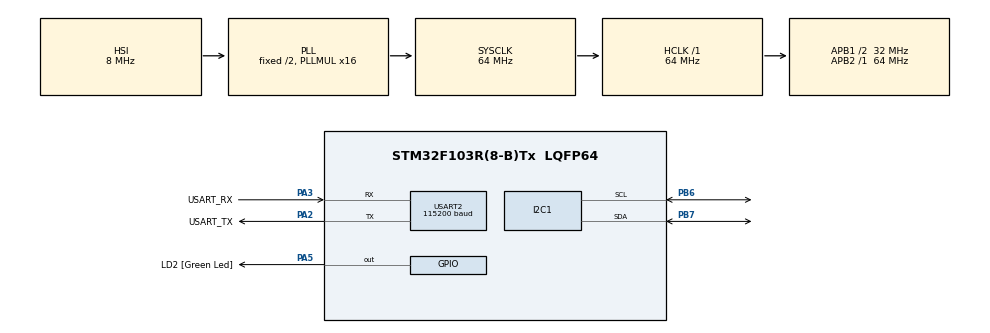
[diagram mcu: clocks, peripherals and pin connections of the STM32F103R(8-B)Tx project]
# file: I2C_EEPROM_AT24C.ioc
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Mcu.Family=STM32F1
Mcu.Name=STM32F103R(8-B)Tx
Mcu.Package=LQFP64
NVIC.PriorityGroup=NVIC_PRIORITYGROUP_4
PA13.GPIO_Label=TMS
PA13.Mode=Serial_Wire
PA13.Signal=SYS_JTMS-SWDIO
PA14.GPIO_Label=TCK
PA14.Mode=Serial_Wire
PA14.Signal=SYS_JTCK-SWCLK
PA2.GPIO_Label=USART_TX
PA2.GPIO_Mode=GPIO_MODE_AF_PP
PA2.GPIO_PuPd=GPIO_NOPULL
PA2.GPIO_Speed=GPIO_SPEED_FREQ_LOW
PA2.Mode=Asynchronous
PA2.Signal=USART2_TX
PA3.GPIO_Label=USART_RX
PA3.GPIO_PuPd=GPIO_NOPULL
PA3.GPIO_Speed=GPIO_SPEED_FREQ_LOW
PA3.Mode=Asynchronous
PA3.Signal=USART2_RX
PA5.GPIO_Label=LD2 [Green Led]
PA5.GPIO_ModeDefaultOutputPP=GPIO_MODE_OUTPUT_PP
PA5.GPIO_PuPd=GPIO_NOPULL
PA5.GPIO_Speed=GPIO_SPEED_FREQ_LOW
PA5.Signal=GPIO_Output
PB3.GPIO_Label=SWO
PB3.Signal=SYS_JTDO-TRACESWO
PB6.Mode=I2C
PB6.Signal=I2C1_SCL
PB7.Mode=I2C
PB7.Signal=I2C1_SDA
PC14-OSC32_IN.Mode=LSE-External-Oscillator
PC14-OSC32_IN.Signal=RCC_OSC32_IN
PC15-OSC32_OUT.Mode=LSE-External-Oscillator
PC15-OSC32_OUT.Signal=RCC_OSC32_OUT
PD0-OSC_IN.Mode=HSE-External-Clock-Source
PD0-OSC_IN.Signal=RCC_OSC_IN
PD1-OSC_OUT.Mode=HSE-External-Clock-Source
PD1-OSC_OUT.Signal=RCC_OSC_OUT
ProjectManager.HeapSize=0x200
ProjectManager.StackSize=0x400
ProjectManager.TargetToolchain=STM32CubeIDE
RCC.AHBFreq_Value=64000000
RCC.APB1CLKDivider=RCC_HCLK_DIV2
RCC.APB1Freq_Value=32000000
RCC.APB1TimFreq_Value=64000000
RCC.APB2Freq_Value=64000000
RCC.APB2TimFreq_Value=64000000
RCC.HCLKFreq_Value=64000000
RCC.PLLMUL=RCC_PLL_MUL16
RCC.RTCClockSelection=RCC_RTCCLKSOURCE_LSE
RCC.SYSCLKFreq_VALUE=64000000
RCC.SYSCLKSource=RCC_SYSCLKSOURCE_PLLCLK
RCC.USBFreq_Value=64000000
USART2.BaudRate=115200
USART2.VirtualMode=VM_ASYNC
board=NUCLEO-F103RB

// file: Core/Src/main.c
/* USER CODE BEGIN Header */
/**
 ******************************************************************************
 * @file           : main.c
 * @brief          : Main program body
 ******************************************************************************
 * @attention
 *
 * Copyright (c) 2026 STMicroelectronics.
 * All rights reserved.
 *
 * This software is licensed under terms that can be found in the LICENSE file
 * in the root directory of this software component.
 * If no LICENSE file comes with this software, it is provided AS-IS.
 *
 ******************************************************************************
 */
/**
 * 06_I2C_EEPROM_AT24C_HAL_c  —  [계층: HAL]  I2C EEPROM(AT24C32/64 등) 읽기/쓰기: 16비트 주소, 페이지 경계, ACK 폴링
 *
 * 배선: AT24C32/AT24C64 모듈(또는 ZS-042 RTC 모듈의 EEPROM): VCC=3.3V, GND, SCL=PB6, SDA=PB7
 *   7비트 주소 = 0x50 | (A2 A1 A0).  모듈 기본은 A2..A0 = 000 -> 0x50.  (ZS-042 는 EEPROM 이 0x57 인 경우가 많다 -> EE_ADDR 수정)
 *
 * AT24Cxx 의 규칙
 *   1) 메모리 주소가 **16비트**(AT24C32/64: 4KB/8KB)라서 HAL 에서 `I2C_MEMADD_SIZE_16BIT` 로 주소 2바이트를 보낸다. (AT24C02/04/08/16 은 8비트)
 *   2) **페이지 쓰기**: 한 번에 쓸 수 있는 최대 크기가 "페이지"(AT24C32/64 는 32바이트). 페이지 경계를 넘으면 주소가
 *      같은 페이지의 처음으로 되감겨(wrap-around) 앞쪽 데이터를 덮어쓴다 -> 페이지 단위로 쪼개서 써야 한다.
 *   3) **쓰기 사이클 시간**: 쓰기 명령 뒤 EEPROM 이 내부에서 셀을 프로그래밍하는 동안(최대 5ms) 주소에 NACK 한다.
 *      고정 delay 대신 **ACK 폴링**(HAL_I2C_IsDeviceReady 반복)으로 끝나는 즉시 다음 동작을 하면 빠르고 안전하다.
 *   4) 읽기는 페이지 제한 없이 연속으로 가능(주소 자동 증가).  수명: 셀당 약 100만 회 쓰기 -> 자주 바뀌는 값은 같은 주소에 반복 쓰지 말 것.
 *
 * 동작: 페이지 경계를 걸치는 40바이트(0x011C부터, 0x0120 이 페이지 경계)를 쓰고 다시 읽어 비교 -> PASS/FAIL 을 UART(115200)로 출력.
 *       쓰기 시간(ACK 폴링 횟수 포함)도 함께 표시. 영역 0x0100~0x01FF 만 사용한다(다른 데이터는 건드리지 않음).
 *
 * 인터럽트를 사용하지 않는다 (블로킹 API).
 */
/* USER CODE END Header */
#include "main.h"

/* USER CODE BEGIN Includes */
#include <stdio.h>
#include <string.h>
/* USER CODE END Includes */

/* USER CODE BEGIN PD */
#define EE_ADDR   (0x50 << 1)          /* HAL 은 7비트 주소를 1비트 왼쪽으로 민 값을 요구 */
#define EE_PAGE   32U                  /* AT24C32/64 페이지 크기 (AT24C256 = 64, AT24C02 = 8 ...) */
#define TEST_ADDR 0x011CU
#define TEST_LEN  40U

/* USER CODE END PD */

I2C_HandleTypeDef hi2c1;
UART_HandleTypeDef huart2;

void SystemClock_Config(void);
static void MX_GPIO_Init(void);
static void MX_I2C1_Init(void);
static void MX_USART2_UART_Init(void);

/* USER CODE BEGIN 0 */
/* 쓰기 완료를 ACK 폴링으로 기다린다. 반환: 폴링 횟수 (실패 시 0) */
static uint32_t ee_wait_ready(void)
{
    uint32_t t0 = HAL_GetTick(), polls = 0;
    while ((HAL_GetTick() - t0) < 20)
    {
        polls++;
        if (HAL_I2C_IsDeviceReady(&hi2c1, EE_ADDR, 1, 5) == HAL_OK) return polls;   /* ACK 오면 내부 쓰기 종료 */
    }
    return 0;
}

/* 페이지 경계를 넘지 않게 나눠 쓰기 */
static int ee_write(uint16_t addr, const uint8_t *data, uint16_t len, uint32_t *polls_total)
{
    while (len)
    {
        uint16_t room = (uint16_t)(EE_PAGE - (addr % EE_PAGE));         /* 이 페이지에 남은 바이트 */
        uint16_t n = len < room ? len : room;
        if (HAL_I2C_Mem_Write(&hi2c1, EE_ADDR, addr, I2C_MEMADD_SIZE_16BIT, (uint8_t *)data, n, 100) != HAL_OK) return 0;
        uint32_t p = ee_wait_ready();
        if (!p) return 0;
        *polls_total += p;
        addr = (uint16_t)(addr + n); data += n; len = (uint16_t)(len - n);
    }
    return 1;
}
/* USER CODE END 0 */

int main(void)
{

  /* USER CODE BEGIN 1 */
    char msg[128];
    uint32_t round = 0;       /* 테스트 라운드 카운터 (원본: for 루프 변수) */
  /* USER CODE END 1 */

  /* MCU Configuration--------------------------------------------------------*/

  /* Reset of all peripherals, Initializes the Flash interface and the Systick. */
  HAL_Init();

  /* Configure the system clock */
  SystemClock_Config();

  /* Initialize all configured peripherals */
  MX_GPIO_Init();
  MX_I2C1_Init();
  MX_USART2_UART_Init();
  /* USER CODE BEGIN 2 */
    if (HAL_I2C_IsDeviceReady(&hi2c1, EE_ADDR, 3, 20) != HAL_OK)
    {
        HAL_UART_Transmit(&huart2, (uint8_t *)"\r\nEEPROM not found (check address/wiring)\r\n", 42, 100);
        Error_Handler();
    }
  /* USER CODE END 2 */

  /* Infinite loop */
  while (1)
  {

    /* USER CODE BEGIN 3 */
        uint8_t wr[TEST_LEN], rd[TEST_LEN];
        for (uint32_t i = 0; i < TEST_LEN; i++) wr[i] = (uint8_t)(round * 3 + i);      /* 라운드마다 다른 패턴 */
        memset(rd, 0, sizeof rd);

        uint32_t polls = 0;
        uint32_t t0 = HAL_GetTick();
        int okw = ee_write(TEST_ADDR, wr, TEST_LEN, &polls);
        uint32_t tw = HAL_GetTick() - t0;

        int okr = (HAL_I2C_Mem_Read(&hi2c1, EE_ADDR, TEST_ADDR, I2C_MEMADD_SIZE_16BIT, rd, TEST_LEN, 100) == HAL_OK);
        int match = okw && okr && (memcmp(wr, rd, TEST_LEN) == 0);

        int n = snprintf(msg, sizeof msg, "#%lu write %u B @0x%04X (page 경계 걸침) %lu ms, ACK polls=%lu | read back: %s\r\n",
                         (unsigned long)round, TEST_LEN, TEST_ADDR, (unsigned long)tw, (unsigned long)polls,
                         match ? "PASS" : "FAIL");
        HAL_UART_Transmit(&huart2, (uint8_t *)msg, (uint16_t)n, 100);
        HAL_Delay(2000);
        round++;
  }
  /* USER CODE END 3 */
}

void SystemClock_Config(void)
{
  RCC_OscInitTypeDef RCC_OscInitStruct = {0};
  RCC_ClkInitTypeDef RCC_ClkInitStruct = {0};

  /** Initializes the RCC Oscillators according to the specified parameters
  * in the RCC_OscInitTypeDef structure.
  */
  RCC_OscInitStruct.OscillatorType = RCC_OSCILLATORTYPE_HSI;
  RCC_OscInitStruct.HSIState = RCC_HSI_ON;
  RCC_OscInitStruct.HSICalibrationValue = RCC_HSICALIBRATION_DEFAULT;
  RCC_OscInitStruct.PLL.PLLState = RCC_PLL_ON;
  RCC_OscInitStruct.PLL.PLLSource = RCC_PLLSOURCE_HSI_DIV2;
  RCC_OscInitStruct.PLL.PLLMUL = RCC_PLL_MUL16;
  if (HAL_RCC_OscConfig(&RCC_OscInitStruct) != HAL_OK)
  {
    Error_Handler();
  }

  /** Initializes the CPU, AHB and APB buses clocks
  */
  RCC_ClkInitStruct.ClockType = RCC_CLOCKTYPE_HCLK|RCC_CLOCKTYPE_SYSCLK
                              |RCC_CLOCKTYPE_PCLK1|RCC_CLOCKTYPE_PCLK2;
  RCC_ClkInitStruct.SYSCLKSource = RCC_SYSCLKSOURCE_PLLCLK;
  RCC_ClkInitStruct.AHBCLKDivider = RCC_SYSCLK_DIV1;
  RCC_ClkInitStruct.APB1CLKDivider = RCC_HCLK_DIV2;
  RCC_ClkInitStruct.APB2CLKDivider = RCC_HCLK_DIV1;

  if (HAL_RCC_ClockConfig(&RCC_ClkInitStruct, FLASH_LATENCY_2) != HAL_OK)
  {
    Error_Handler();
  }
}

static void MX_I2C1_Init(void)
{

  hi2c1.Instance = I2C1;
  hi2c1.Init.ClockSpeed = 100000;
  hi2c1.Init.DutyCycle = I2C_DUTYCYCLE_2;
  hi2c1.Init.OwnAddress1 = 0;
  hi2c1.Init.AddressingMode = I2C_ADDRESSINGMODE_7BIT;
  hi2c1.Init.DualAddressMode = I2C_DUALADDRESS_DISABLE;
  hi2c1.Init.OwnAddress2 = 0;
  hi2c1.Init.GeneralCallMode = I2C_GENERALCALL_DISABLE;
  hi2c1.Init.NoStretchMode = I2C_NOSTRETCH_DISABLE;
  if (HAL_I2C_Init(&hi2c1) != HAL_OK)
  {
    Error_Handler();
  }
  /* USER CODE BEGIN I2C1_Init 2 */
  /* HAL_I2C_Init -> (MspInit) 후 I2C1->CR2.FREQ = PCLK1(MHz), I2C1->CCR / TRISE = 100kHz 타이밍,
   * CR1.PE = 1. NoStretch/GeneralCall/DualAddress = OAR2.ENDUAL, CR1.NOSTRETCH/ENGC 비트 */
  /* USER CODE END I2C1_Init 2 */

}

static void MX_USART2_UART_Init(void)
{

  huart2.Instance = USART2;
  huart2.Init.BaudRate = 115200;
  huart2.Init.WordLength = UART_WORDLENGTH_8B;
  huart2.Init.StopBits = UART_STOPBITS_1;
  huart2.Init.Parity = UART_PARITY_NONE;
  huart2.Init.Mode = UART_MODE_TX_RX;
  huart2.Init.HwFlowCtl = UART_HWCONTROL_NONE;
  huart2.Init.OverSampling = UART_OVERSAMPLING_16;
  if (HAL_UART_Init(&huart2) != HAL_OK)
  {
    Error_Handler();
  }

}

static void MX_GPIO_Init(void)
{
  GPIO_InitTypeDef GPIO_InitStruct = {0};

  /* GPIO Ports Clock Enable */
  __HAL_RCC_GPIOC_CLK_ENABLE();
  __HAL_RCC_GPIOD_CLK_ENABLE();
  __HAL_RCC_GPIOA_CLK_ENABLE();
  __HAL_RCC_GPIOB_CLK_ENABLE();

  /*Configure GPIO pin Output Level */
  HAL_GPIO_WritePin(LD2_GPIO_Port, LD2_Pin, GPIO_PIN_RESET);

  /*Configure GPIO pin : LD2_Pin */
  GPIO_InitStruct.Pin = LD2_Pin;
  GPIO_InitStruct.Mode = GPIO_MODE_OUTPUT_PP;
  GPIO_InitStruct.Pull = GPIO_NOPULL;
  GPIO_InitStruct.Speed = GPIO_SPEED_FREQ_LOW;
  HAL_GPIO_Init(LD2_GPIO_Port, &GPIO_InitStruct);

}

void Error_Handler(void)
{
  __disable_irq();
  while (1) {
  }
}
#ifdef USE_FULL_ASSERT
/**
  * @brief  Reports the name of the source file and the source line number
  *         where the assert_param error has occurred.
  * @param  file: pointer to the source file name
  * @param  line: assert_param error line source number
  * @retval None
  */
void assert_failed(uint8_t *file, uint32_t line)
{
  /* USER CODE BEGIN 6 */
  /* User can add his own implementation to report the file name and line
     number, ex: printf("Wrong parameters value: file %s on line %d\r\n", file,
     line) */
  /* USER CODE END 6 */
}
#endif /* USE_FULL_ASSERT */
